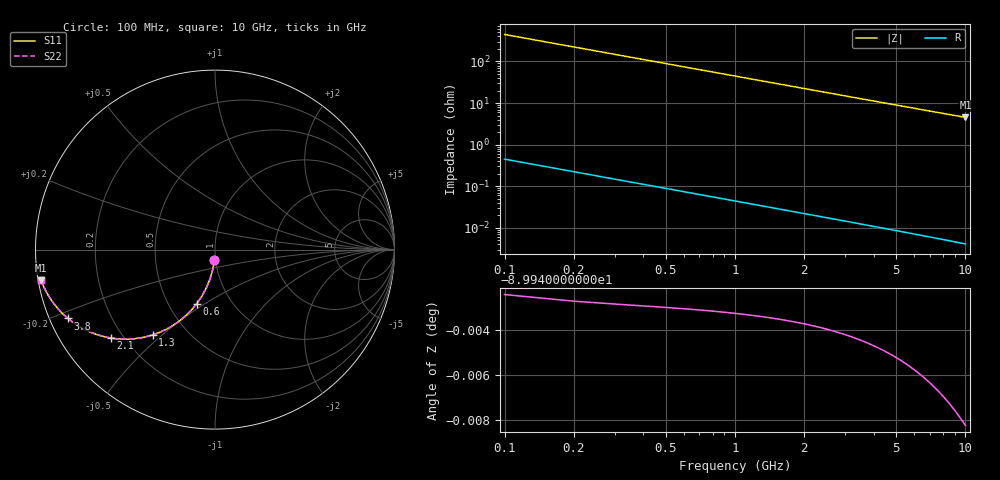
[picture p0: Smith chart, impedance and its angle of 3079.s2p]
# Hz S RI R 50.00
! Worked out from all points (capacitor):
!   100 points, 100 MHz to 10 GHz, reference 50 ohm
!   read as one part in shunt: C = 3.57 pF near 100 MHz
!   lowest |Z| = 4.53 ohm at 10 GHz (marker M1)
!   S11 on the Smith chart (normalised r, x): 100 MHz: 0.99, -0.11; 600 MHz: 0.69, -0.46; 1.3 GHz: 0.32, -0.47; 2.1 GHz: 0.15, -0.36; 3.8 GHz: 0.05, -0.22; 10 GHz: 0.01, -0.09
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1e8  -0.00317 -0.0558  0.9968 -0.0559  0.9968 -0.0559  -0.00317 -0.0558
2e8  -0.0125 -0.1106  0.9875 -0.1107  0.9875 -0.1107  -0.0125 -0.1106
3e8  -0.0276 -0.1633  0.9724 -0.1635  0.9724 -0.1635  -0.0276 -0.1633
4e8  -0.048 -0.2132  0.952 -0.2134  0.952 -0.2134  -0.048 -0.2132
5e8  -0.0729 -0.2594  0.927 -0.2597  0.927 -0.2597  -0.0729 -0.2594
6e8  -0.1017 -0.3016  0.8983 -0.3019  0.8983 -0.3019  -0.1017 -0.3016
7e8  -0.1335 -0.3394  0.8665 -0.3398  0.8665 -0.3398  -0.1335 -0.3394
9e8  -0.2028 -0.4014  0.7971 -0.4019  0.7971 -0.4019  -0.2028 -0.4014
1.1e9  -0.2753 -0.4459  0.7247 -0.4465  0.7247 -0.4465  -0.2753 -0.4459
1.3e9  -0.3465 -0.475  0.6534 -0.4757  0.6534 -0.4757  -0.3465 -0.475
1.5e9  -0.4138 -0.4916  0.5862 -0.4924  0.5862 -0.4924  -0.4138 -0.4916
1.8e9  -0.5039 -0.499  0.4961 -0.5  0.4961 -0.5  -0.5039 -0.499
2.1e9  -0.5802 -0.4925  0.4198 -0.4936  0.4198 -0.4936  -0.5802 -0.4925
2.4e9  -0.6434 -0.4779  0.3566 -0.4791  0.3566 -0.4791  -0.6434 -0.4779
2.7e9  -0.6953 -0.459  0.3046 -0.4605  0.3046 -0.4605  -0.6953 -0.459
3.4e9  -0.7833 -0.4106  0.2166 -0.4123  0.2166 -0.4123  -0.7833 -0.4106
3.8e9  -0.8186 -0.3838  0.1813 -0.3858  0.1813 -0.3858  -0.8186 -0.3838
4.4e9  -0.8581 -0.3473  0.1419 -0.3496  0.1419 -0.3496  -0.8581 -0.3473
5.1e9  -0.8903 -0.3106  0.1096 -0.3133  0.1096 -0.3133  -0.8903 -0.3106
6.7e9  -0.9333 -0.2472  0.0667 -0.2507  0.0667 -0.2507  -0.9333 -0.2472
8.4e9  -0.9565 -0.2013  0.0435 -0.2057  0.0435 -0.2057  -0.9565 -0.2013
1e10  -0.9689 -0.1704  0.0311 -0.1757  0.0311 -0.1757  -0.9689 -0.1704
